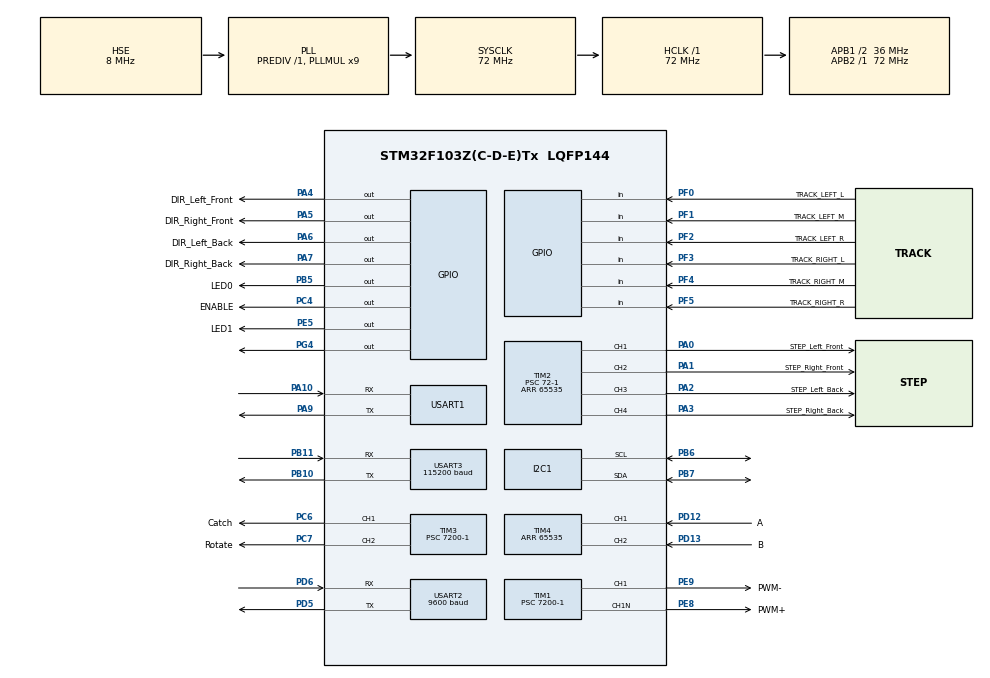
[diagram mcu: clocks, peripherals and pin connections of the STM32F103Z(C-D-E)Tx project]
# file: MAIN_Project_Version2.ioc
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Mcu.Family=STM32F1
Mcu.Name=STM32F103Z(C-D-E)Tx
Mcu.Package=LQFP144
NVIC.PriorityGroup=NVIC_PRIORITYGROUP_2
NVIC.TIM2_IRQn=true\:1\:1\:true\:false\:true\:true\:true
NVIC.TIM6_IRQn=true\:1\:0\:true\:false\:true\:true\:true
NVIC.USART2_IRQn=true\:0\:0\:false\:false\:true\:true\:true
NVIC.USART3_IRQn=true\:0\:0\:false\:false\:true\:true\:true
OSC_IN.Mode=HSE-External-Oscillator
OSC_IN.Signal=RCC_OSC_IN
OSC_OUT.Mode=HSE-External-Oscillator
OSC_OUT.Signal=RCC_OSC_OUT
PA0-WKUP.GPIO_Label=STEP_Left_Front
PA0-WKUP.GPIO_Speed=GPIO_SPEED_FREQ_HIGH
PA0-WKUP.Signal=S_TIM2_CH1_ETR
PA1.GPIO_Label=STEP_Right_Front
PA1.GPIO_Speed=GPIO_SPEED_FREQ_HIGH
PA1.Signal=S_TIM2_CH2
PA10.Mode=Asynchronous
PA10.Signal=USART1_RX
PA2.GPIO_Label=STEP_Left_Back
PA2.GPIO_Speed=GPIO_SPEED_FREQ_HIGH
PA2.Signal=S_TIM2_CH3
PA3.GPIO_Label=STEP_Right_Back
PA3.GPIO_Speed=GPIO_SPEED_FREQ_HIGH
PA3.Signal=S_TIM2_CH4
PA4.GPIO_Label=DIR_Left_Front
PA4.Signal=GPIO_Output
PA5.GPIO_Label=DIR_Right_Front
PA5.Signal=GPIO_Output
PA6.GPIO_Label=DIR_Left_Back
PA6.Signal=GPIO_Output
PA7.GPIO_Label=DIR_Right_Back
PA7.Signal=GPIO_Output
PA9.Mode=Asynchronous
PA9.Signal=USART1_TX
PB10.Mode=Asynchronous
PB10.Signal=USART3_TX
PB11.Mode=Asynchronous
PB11.Signal=USART3_RX
PB5.GPIO_Label=LED0
PB5.Signal=GPIO_Output
PB6.Mode=I2C
PB6.Signal=I2C1_SCL
PB7.Mode=I2C
PB7.Signal=I2C1_SDA
PC14-OSC32_IN.Mode=LSE-External-Oscillator
PC14-OSC32_IN.Signal=RCC_OSC32_IN
PC15-OSC32_OUT.Mode=LSE-External-Oscillator
PC15-OSC32_OUT.Signal=RCC_OSC32_OUT
PC4.GPIO_Label=ENABLE
PC4.Signal=GPIO_Output
PC6.GPIO_Label=Catch
PC6.Signal=S_TIM3_CH1
PC7.GPIO_Label=Rotate
PC7.Signal=S_TIM3_CH2
PD12.GPIO_Label=A
PD12.GPIO_PuPd=GPIO_PULLUP
PD12.Signal=S_TIM4_CH1
PD13.GPIO_Label=B
PD13.GPIO_PuPd=GPIO_PULLUP
PD13.Signal=S_TIM4_CH2
PD5.Mode=Asynchronous
PD5.Signal=USART2_TX
PD6.Mode=Asynchronous
PD6.Signal=USART2_RX
PE5.GPIO_Label=LED1
PE5.Signal=GPIO_Output
PE8.GPIO_Label=PWM+
PE8.Mode=PWM Generation1 CH1 CH1N
PE8.Signal=TIM1_CH1N
PE9.GPIO_Label=PWM-
PE9.GPIO_Speed=GPIO_SPEED_FREQ_HIGH
PE9.Signal=S_TIM1_CH1
PF0.GPIO_Label=TRACK_LEFT_L
PF0.Signal=GPIO_Input
PF1.GPIO_Label=TRACK_LEFT_M
PF1.Signal=GPIO_Input
PF2.GPIO_Label=TRACK_LEFT_R
PF2.Signal=GPIO_Input
PF3.GPIO_Label=TRACK_RIGHT_L
PF3.Signal=GPIO_Input
PF4.GPIO_Label=TRACK_RIGHT_M
PF4.Signal=GPIO_Input
PF5.GPIO_Label=TRACK_RIGHT_R
PF5.Signal=GPIO_Input
PG4.Signal=GPIO_Output
ProjectManager.HeapSize=0x200
ProjectManager.StackSize=0x400
ProjectManager.TargetToolchain=MDK-ARM V5
RCC.ADCPresc=RCC_ADCPCLK2_DIV6
RCC.AHBFreq_Value=72000000
RCC.APB1CLKDivider=RCC_HCLK_DIV2
RCC.APB1Freq_Value=36000000
RCC.APB1TimFreq_Value=72000000
RCC.APB2Freq_Value=72000000
RCC.APB2TimFreq_Value=72000000
RCC.HCLKFreq_Value=72000000
RCC.PLLMUL=RCC_PLL_MUL9
RCC.PLLSourceVirtual=RCC_PLLSOURCE_HSE
RCC.SYSCLKFreq_VALUE=72000000
RCC.SYSCLKSource=RCC_SYSCLKSOURCE_PLLCLK
RCC.USBFreq_Value=72000000
SH.S_TIM1_CH1.0=TIM1_CH1,PWM Generation1 CH1 CH1N
SH.S_TIM2_CH1_ETR.0=TIM2_CH1,Output Compare1 CH1
SH.S_TIM2_CH2.0=TIM2_CH2,Output Compare2 CH2
SH.S_TIM2_CH3.0=TIM2_CH3,Output Compare3 CH3
SH.S_TIM2_CH4.0=TIM2_CH4,Output Compare4 CH4
SH.S_TIM3_CH1.0=TIM3_CH1,PWM Generation1 CH1
SH.S_TIM3_CH2.0=TIM3_CH2,PWM Generation2 CH2
SH.S_TIM4_CH1.0=TIM4_CH1,Encoder_Interface
SH.S_TIM4_CH2.0=TIM4_CH2,Encoder_Interface
TIM1.AutoReloadPreload=TIM_AUTORELOAD_PRELOAD_ENABLE
TIM1.Channel-PWM\ Generation1\ CH1\ CH1N=TIM_CHANNEL_1
TIM1.Period=100-1
TIM1.Prescaler=7200-1
TIM1.Pulse-PWM\ Generation1\ CH1\ CH1N=50
TIM2.AutoReloadPreload=TIM_AUTORELOAD_PRELOAD_ENABLE
TIM2.Channel-Output\ Compare1\ CH1=TIM_CHANNEL_1
TIM2.Channel-Output\ Compare2\ CH2=TIM_CHANNEL_2
TIM2.Channel-Output\ Compare3\ CH3=TIM_CHANNEL_3
TIM2.Channel-Output\ Compare4\ CH4=TIM_CHANNEL_4
TIM2.OC1Preload=DISABLE
TIM2.OC2Preload=DISABLE
TIM2.OC3Preload=DISABLE
TIM2.OC4Preload=DISABLE
TIM2.OCMode_1=TIM_OCMODE_TOGGLE
TIM2.OCMode_2=TIM_OCMODE_TOGGLE
TIM2.OCMode_3=TIM_OCMODE_TOGGLE
TIM2.OCMode_4=TIM_OCMODE_TOGGLE
TIM2.Period=65535
TIM2.Prescaler=72-1
TIM2.Pulse-Output\ Compare1\ CH1=1000
TIM2.Pulse-Output\ Compare2\ CH2=1000
TIM2.Pulse-Output\ Compare3\ CH3=1000
TIM2.Pulse-Output\ Compare4\ CH4=1000
TIM3.AutoReloadPreload=TIM_AUTORELOAD_PRELOAD_ENABLE
TIM3.Channel-PWM\ Generation1\ CH1=TIM_CHANNEL_1
TIM3.Channel-PWM\ Generation2\ CH2=TIM_CHANNEL_2
TIM3.OCPolarity_1=TIM_OCPOLARITY_HIGH
TIM3.OCPolarity_2=TIM_OCPOLARITY_HIGH
TIM3.Period=200-1
TIM3.Prescaler=7200-1
TIM3.Pulse-PWM\ Generation1\ CH1=0
TIM3.Pulse-PWM\ Generation2\ CH2=0
TIM4.EncoderMode=TIM_ENCODERMODE_TI1
TIM4.Period=65535
TIM6.AutoReloadPreload=TIM_AUTORELOAD_PRELOAD_DISABLE
TIM6.Period=100-1
TIM6.Prescaler=7200-1
USART1.VirtualMode=VM_ASYNC
USART2.BaudRate=9600
USART2.VirtualMode=VM_ASYNC
USART3.BaudRate=115200
USART3.VirtualMode=VM_ASYNC
VP_SYS_VS_ND.Mode=No_Debug
VP_TIM1_VS_ClockSourceINT.Mode=Internal
VP_TIM2_VS_ClockSourceINT.Mode=Internal
VP_TIM3_VS_ClockSourceINT.Mode=Internal
VP_TIM6_VS_ClockSourceINT.Mode=Enable_Timer
board=custom

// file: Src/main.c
/* USER CODE BEGIN Header */
/**
  ******************************************************************************
  * @file           : main.c
  * @brief          : Main program body
  ******************************************************************************
  * @attention
  *
  * <h2><center>&copy; Copyright (c) 2020 STMicroelectronics.
  * All rights reserved.</center></h2>
  *
  * This software component is licensed by ST under BSD 3-Clause license,
  * the "License"; You may not use this file except in compliance with the
  * License. You may obtain a copy of the License at:
  *                        opensource.org/licenses/BSD-3-Clause
  *
  ******************************************************************************
  */
/* USER CODE END Header */

#include "main.h"
#include "i2c.h"
#include "tim.h"
#include "usart.h"
#include "gpio.h"

/* USER CODE BEGIN Includes */
#include <stdio.h>
#include "bsp_stepmotor.h"
#include "bsp_move.h"
#include "bsp_servo.h"
#include "bsp_lifter.h"
#include "oled.h"
#include "control.h"
#include "bsp_catch.h"
/* USER CODE END Includes */

/* USER CODE BEGIN PV */

uint16_t step_to_run[4]={24000,24000,24000,24000}; //要匀速运行的步数       总共运行步数 = ACCELERATED_SPEED_LENGTH*2 + step_to_run
float fre[ACCELERATED_SPEED_LENGTH]; //数组存储加速过程中每一步的频率
unsigned short period[ACCELERATED_SPEED_LENGTH]; //数组储存加速过程中每一步定时器的自动装载值
uint32_t count[4]={0,0,0,0};
uint32_t num_callback[4]={0,0,0,0};
uint8_t status[4]={1,1,1,1};

 unsigned char BMP1[]=
{

0x00,0xC0,0xC0,0xC0,0xC0,0xC0,0xC0,0x30,0xF0,0xFC,0xFC,0x00,0x00,0x00,0x00,0x00,
0x00,0x00,0x00,0x00,0x00,0x00,0x00,0x00,0xFF,0xFF,0xFF,0x00,0x00,0x00,0x00,0x00,
0x00,0x00,0x00,0x00,0x00,0x00,0x00,0x00,0xFF,0xFF,0xFF,0x00,0x00,0x00,0x00,0x00,
0x00,0x00,0x00,0x00,0x00,0x00,0x00,0x00,0xFF,0xFF,0xFF,0x00,0x00,0x00,0x00,0x00,
0x00,0x00,0x00,0x00,0x00,0x00,0x00,0x00,0x7F,0x7F,0x7F,0x00,0x00,0x00,0x00,0x00,/*"C:\Users\电脑\Desktop\1.bmp",0*/

};

 unsigned char BMP2[]=
{

	0x00,0x00,0x00,0xC0,0xC0,0xFE,0xFE,0x3E,0x3E,0xFE,0xFE,0xFE,0xC0,0x00,0x00,0x00,
	0x00,0x00,0x00,0x0F,0x0F,0x00,0x00,0x00,0x00,0xFF,0xFF,0xFF,0xFF,0x30,0x00,0x00,
	0x00,0x00,0x00,0x00,0x00,0x00,0xC0,0xC0,0xF8,0xFF,0xFF,0xFF,0x3F,0x00,0x00,0x00,
	0x00,0x00,0x00,0xF0,0xF0,0xFF,0xFF,0x7F,0x0F,0x00,0x00,0x00,0x00,0x00,0x00,0x00,
	0x00,0x00,0x3C,0x3F,0x3F,0x3F,0x33,0x30,0x30,0x30,0x30,0x30,0x30,0x30,0x00,0x00,/*"C:\Users\电脑\Desktop\2.bmp",0*/

};

 unsigned char BMP3[]=
{

	0x00,0x00,0xF8,0xFC,0xFC,0xFC,0xFC,0xFC,0xFC,0xFC,0xFC,0xF8,0xF8,0xF8,0x00,0x00,
	0x00,0x00,0x00,0x00,0x00,0x00,0x00,0x80,0x80,0x80,0xFF,0xFF,0xFF,0xFF,0x7F,0x00,
	0x00,0x00,0x00,0x1E,0x1E,0x1E,0x1E,0x1F,0x1F,0xFF,0xFF,0xFF,0xFF,0xF9,0xE0,0x00,
	0x00,0x80,0x80,0x00,0x00,0x00,0x00,0x00,0x00,0x00,0x83,0xFF,0xFF,0xFF,0xFF,0x18,
	0x00,0x3F,0x3F,0x7E,0x7E,0x7E,0x7E,0x7E,0x7E,0x7E,0x3F,0x3F,0x3F,0x07,0x01,0x00,/*"C:\Users\电脑\Desktop\3.bmp",0*/

};

 unsigned char BMPS[]=
{

	0x00,0x00,0x00,0x00,0x00,0x00,0x00,0x00,0x00,0x00,0x00,0x00,0x00,0x00,0x00,0x00,
	0x00,0x00,0x00,0x00,0x00,0x00,0xFF,0xFF,0xFF,0x00,0x00,0x00,0x00,0x00,0x00,0x00,
	0x00,0x3E,0x3E,0x3E,0x3E,0x3E,0xFF,0xFF,0xFF,0x3E,0x3E,0x3E,0x3E,0x3E,0x00,0x00,
	0x00,0x00,0x00,0x00,0x00,0x00,0x7F,0x7F,0x7F,0x00,0x00,0x00,0x00,0x00,0x00,0x00,
	0x00,0x00,0x00,0x00,0x00,0x00,0x00,0x00,0x00,0x00,0x00,0x00,0x00,0x00,0x00,0x00,/*"C:\Users\电脑\Desktop\+.bmp",0*/

};

uint8_t ADmode = 0;//巡线模式

uint16_t step_to_runAD[4]={ADSTEP,ADSTEP,ADSTEP,ADSTEP};
float freAD[ACCELERATED_SPEED_LENGTH_AD]; //数组存储变速过程中每一步的频率
unsigned short periodAD[ACCELERATED_SPEED_LENGTH_AD]; //数组储存变速过程中每一步定时器的自动装载值
uint32_t countAD[4]={0,0,0,0};
uint32_t num_callbackAD[4]={0,0,0,0};
uint8_t statusAD[4]={1,1,1,1};

uint8_t mission = 0;		//任务编码
uint8_t i = 0;					//循环变量
uint8_t Openmvmission=0;//发送给Openmv的任务
uint8_t j = 0;					//总循环
uint8_t p = 0;
uint8_t o = 0;

uint8_t num = 0;

int error = 0;
uint8_t change1 = 0 ;		//越过黑线标记
uint8_t change2 = 0;
uint8_t TrackSw = 0;		//巡线开关
uint8_t Track[1] = {0X57};  //发送给循迹传感器的指令
uint8_t TrackData[3] = {0};	//从循迹传感器传回的数据
uint8_t ADsign = 0;

uint8_t sign = 0;

uint8_t start_flag = 0; //脉冲计数开始
uint8_t start_flag_PID = 0;//PID开始
uint8_t uwDirection=0;	//编码盘方向
uint16_t CaptureNumber=0;//编码盘定时器寄存器值
uint16_t countsum=0;		//编码盘计数
int Position = 0;				//机械臂升降位置

int CatchPosition = CATUP; 	//抓上层物料位置

uint8_t mission_buf[7]={0}; //从Openmv获取的数据
uint8_t Order_buf[1]={0};
uint8_t missioncmd[1]={0};			//发送给Openmv的指令

//发送给Openmv的值 1为完成任务码读取，2为开始物块识别，3为完成物块识别，
//4为开始色环识别，5为完成色环识别，6为开始物料识别，7为完成物料识别

#define ADLEFT 	2
#define ADRIGHT 3
#define ADFRONT 4
#define SCAN  3
/* USER CODE END PV */

void SystemClock_Config(void);

int main(void)
{

  /* MCU Configuration--------------------------------------------------------*/

  /* Reset of all peripherals, Initializes the Flash interface and the Systick. */
  HAL_Init();

  /* Configure the system clock */
  SystemClock_Config();

  /* Initialize all configured peripherals */
  MX_GPIO_Init();
  MX_TIM2_Init();
  MX_TIM3_Init();
  MX_TIM1_Init();
  MX_TIM4_Init();
  MX_USART1_UART_Init();
  MX_TIM6_Init();
  MX_USART3_UART_Init();
  MX_I2C1_Init();
  MX_USART2_UART_Init();
  /* USER CODE BEGIN 2 */

	HAL_TIM_Base_Start(&htim2);//启动定时器
	HAL_TIM_Base_Start_IT(&htim6);
	//HAL_TIM_Base_Start_IT(&htim7);

	#if 1  //步进电机
	Move_Enable;
	CalculateSModelLine(fre,period,ACCELERATED_SPEED_LENGTH,FRE_MAX,FRE_MIN,4);
	CalculateSModelLine(freAD,periodAD,ACCELERATED_SPEED_LENGTH_AD,FRE_MAX+11000,FRE_MAX,4);//调速曲线
	#endif
/* USER CODE BEGIN 2 */

	#if 1  //直流电机驱动
	HAL_TIM_Encoder_Start(&htim4, TIM_CHANNEL_ALL);
	Lifter_Init();
	#endif

	#if 1//舵机初始化
	Servo_Init();
	#endif

	#if 1 //OLED初始化
  OLED_Init();
	OLED_CLS();
	#endif

  /* USER CODE END 2 */

  /* Infinite loop */
	while (1)
	{

    /* USER CODE BEGIN 3 */

		#if 1
		start_flag = 1;//开始脉冲计数
		Position = 10000; //静止
		start_flag_PID = 1;
		//HAL_Delay(1000);
		#endif

//		#if 1
//		Position = TOP; //上升
//		HAL_Delay(2000);
//		Catch_Control(0);
//		Rotate_Control(0);
//		HAL_Delay(1000);
//		#endif
//		Position = CATDOWN; //上升
//
//		while(1);
		mission = 1;//后退半格到线上
		Move_Step(BACKWORD,20000);
		HAL_Delay(200);

		#if 1
		Position = TOP; //上升
		HAL_Delay(2000);
		Catch_Control(0);
		Rotate_Control(0);
		HAL_Delay(1000);
		#endif

		mission = 2;//左移两格并巡线
		ADsign = 1;
		Move_Step(LEFT,40000);
		HAL_Delay(200);

		#if 1
		Openmvmission = 1;//进入openmv传送
		missioncmd[0]=1;
		HAL_UART_Receive_IT(&huart3, mission_buf, sizeof(mission_buf));//启动串口中断接受任务
		while(sign==0)
		{
			HAL_UART_Transmit(&huart3, (uint8_t*)missioncmd,sizeof(missioncmd),0XFFFF);
			HAL_Delay(500);
			//printf("%c",mission_buf[0]);
		}
		sign = 0;//复位
		#endif

		mission = 3;//左移四格并巡线
		ADsign = 1;
		Move_Step(LEFT,40000);
		HAL_Delay(500);

		for(j=0;j<2;j++)
		{
		#if 1
		Openmvmission = 2;//进入openmv传送
		if(j==0)
		{
			missioncmd[0]=2;//第一次发送2看上层
		}
		else if(j==1)
		{
			mission_buf[0]=mission_buf[4];
			mission_buf[1]=mission_buf[5];
			mission_buf[2]=mission_buf[6];//把后面的任务赋值给前三个元素
			missioncmd[0]=3;//第二次发送3看下层
		}
		HAL_UART_Receive_IT(&huart3, Order_buf, sizeof(Order_buf));//启动串口中断接受任务
		while(sign==0)
		{
			HAL_UART_Transmit(&huart3, (uint8_t*)missioncmd,sizeof(missioncmd),0XFFFF);
			HAL_Delay(500);
			//printf("%d",Order_buf[0]);
		}
		sign = 0;

		if(j==0)//第一次
		{
			CatchPosition = CATUP;
		}
		else if(j==1)//第二次
		{
			CatchPosition = CATDOWN;
		}
		CatchWithMission1(); //抓第一个物料
		CatchWithMission2(); //抓第二个物料
		CatchWithMission3(); //抓第三个物料
		MoveBack();//回到原点

		#endif

		mission = 4;//左转90°
		Move_Step(TURN_LEFT,6000);
		HAL_Delay(500);

		mission = 5;//左移三格并巡线至粗加工区
		ADsign = 1;
		Move_Step(LEFT,40000);
		HAL_Delay(500);

		Move_Step(BACKWORD,300);

		mission = 14;//前进到抓取
		Move_Step(FORWORD,20000);
		HAL_Delay(500);

		#if 1
		PutWithOrder1();			//放置第一个物料
		PutWithOrder2();			//放置第二个物料
		PutWithOrder3();			//放置第三个物料
		MoveBack2();					//粗加工区回到原点
		CatchWithOrder1();
		CatchWithOrder2();
		CatchWithOrder3();
		MoveBack3();					//粗加工区回到蓝色框
		#endif

//		Move_Step(LEFT,6850);
//		HAL_Delay(500);

		mission = 6;//左移两格
		ADsign = 1;
		Move_Step(LEFT,40000);
		HAL_Delay(200);

//		mission = 7;//左转90°
//		Move_Step(TURN_LEFT,6000);
//		HAL_Delay(500);

		Move_Step(TURN_LEFT,TURN90);//左转90°
		HAL_Delay(200);

		mission = 8;//左移三格至半成品区
		ADsign = 1;
		Move_Step(LEFT,40000);
		HAL_Delay(200);

		#if 1
		if(j==0)
		{
			PutWithOrderCU1();			//半成品区放置物料
			PutWithOrderCU2();			//
			PutWithOrderCU3();
		}
		else if(j==1)
		{
			PutWithOrderCU4();			//半成品区放置物料
			PutWithOrderCU5();			//
			PutWithOrderCU6();
		}

		MoveBack2();		//回到原点
		//Move_Step(BACKWORD,1900);
		#endif
		if(j==0)//开始第二次
		{
		mission = 9;//左转90°
		Move_Step(TURN_LEFT,6000);
		HAL_Delay(200);

//		Move_Step(TURN_LEFT,TURN90);//左转90°
//		HAL_Delay(500);

		mission = 10;//左移五格
		ADsign = 1;
		Move_Step(LEFT,40000);
		HAL_Delay(200);

		Move_Step(TURN_LEFT,TURN90);//左转90°
		HAL_Delay(200);

//		mission = 11;//左转90°
//		Move_Step(TURN_LEFT,6000);
//		HAL_Delay(500);

		//Move_Step(LEFT,1500);

		mission = 12;//左移两格
		ADsign = 1;
		Move_Step(LEFT,40000);
		HAL_Delay(200);
		}
		}
	mission = 13;//左移三格
	//ADsign = 1;
	Move_Step(LEFT,40000);

	Move_Step(FORWORD,4300);
	while(1);
  }

  /* USER CODE END 3 */
}

void SystemClock_Config(void)
{
  RCC_OscInitTypeDef RCC_OscInitStruct = {0};
  RCC_ClkInitTypeDef RCC_ClkInitStruct = {0};

  /** Initializes the CPU, AHB and APB busses clocks
  */
  RCC_OscInitStruct.OscillatorType = RCC_OSCILLATORTYPE_HSE;
  RCC_OscInitStruct.HSEState = RCC_HSE_ON;
  RCC_OscInitStruct.HSEPredivValue = RCC_HSE_PREDIV_DIV1;
  RCC_OscInitStruct.HSIState = RCC_HSI_ON;
  RCC_OscInitStruct.PLL.PLLState = RCC_PLL_ON;
  RCC_OscInitStruct.PLL.PLLSource = RCC_PLLSOURCE_HSE;
  RCC_OscInitStruct.PLL.PLLMUL = RCC_PLL_MUL9;
  if (HAL_RCC_OscConfig(&RCC_OscInitStruct) != HAL_OK)
  {
    Error_Handler();
  }
  /** Initializes the CPU, AHB and APB busses clocks
  */
  RCC_ClkInitStruct.ClockType = RCC_CLOCKTYPE_HCLK|RCC_CLOCKTYPE_SYSCLK
                              |RCC_CLOCKTYPE_PCLK1|RCC_CLOCKTYPE_PCLK2;
  RCC_ClkInitStruct.SYSCLKSource = RCC_SYSCLKSOURCE_PLLCLK;
  RCC_ClkInitStruct.AHBCLKDivider = RCC_SYSCLK_DIV1;
  RCC_ClkInitStruct.APB1CLKDivider = RCC_HCLK_DIV2;
  RCC_ClkInitStruct.APB2CLKDivider = RCC_HCLK_DIV1;

  if (HAL_RCC_ClockConfig(&RCC_ClkInitStruct, FLASH_LATENCY_2) != HAL_OK)
  {
    Error_Handler();
  }
}

/* USER CODE BEGIN 4 */
void HAL_TIM_PeriodElapsedCallback(TIM_HandleTypeDef *htim)
{
	if(htim->Instance == htim6.Instance) //判断是否定时器6
		{
//			if(TrackSw == 1)
//			{
//				HAL_UART_Receive_IT(&huart2, TrackData, sizeof(TrackData));//启动串口中断，数据给对应数组
//				HAL_UART_Transmit(&huart2, (uint8_t*)Track,sizeof(Track),0XFFFF);  //让传感器传回数据
//				TrackSw = 0;
//			}
	if(ADsign == 1)  //1为向左走并调整，2为向右走并调整
	{
		if(TrackLM==1&&TrackLL==0&&TrackLR==0)
		{
			p=0;
			//ADmode = 0;//正常循迹
		}
		else if(TrackLM==1&&TrackLL==1&&TrackLR==1)
		{
			p=0;
			//ADmode = 0;//正常循迹
		}
//		else if(TrackLM==1&&TrackLL==1&&TrackLR==1)
//		{
//			k=0;
//			//ADmode = 0;//正常循迹
//		}
		else if(TrackLL==1&&status[3]==3)
		{
			p+=1;
			if(ADmode == 0&&p>=SCAN)
			{
				for(i=0;i<4;i++)
				{
				countAD[i]=0;
				num_callbackAD[i]=0;
				statusAD[i]=1;
				step_to_runAD[i]=ADSTEP;
				}
				statusAD[0] = 0;//后轮不动
				statusAD[1] = 0;
				ADmode = 1;
				p=0;
			}
			//前轮一起动快一点
		}
		else if(TrackLR==1&&status[3]==3)
		{
			p+=1;
			if(ADmode == 0&&p>=SCAN)
			{
				for(i=0;i<4;i++)
				{
				countAD[i]=0;
				num_callbackAD[i]=0;
				statusAD[i]=1;
				step_to_runAD[i]=ADSTEP;
				}
				statusAD[2] = 0;//前轮不动
				statusAD[3] = 0;
				ADmode = 1;
				p=0;
			}
			//后轮一起动快一点
		}
	}
			if(mission==1)//后退至第二条黑线黑线
			{
				if(TrackRR==1)
				{
					change1=1;
				}
				if((change1==1)&&(TrackRR==0))
				{
					change1=0;//复位
					num+=1;
				}
				if(num>=2)
				{
					for(i=0;i<4;i++)
					{
						step_to_run[i]=700;
					}
					mission=0;
					num=0;//复位
					ADsign = 0;//关闭调整
					ADmode = 0;
				}
			}

			if(mission==2)//检测到两条黑线
			{
				if(TrackRR==1)
					{
						change1=1;
					}
					if((change1==1)&&(TrackRR==0))
					{
						change1=0;//复位
						num+=1;
					}
				if(num==2)
				{
					for(i=0;i<4;i++)
					{
						step_to_run[i]=1500;
					}
					mission=0;
					num=0;//复位
					ADsign = 0;//关闭调整
					ADmode = 0;
				}
			}
			if(mission==3)//检测到三条黑线到原料区
			{
				if(TrackRR==1)
				{
					change1=1;
				}
				if((change1==1)&&(TrackRR==0))
				{
					change1=0;//复位
					num+=1;
				}
				if(num>=3)
				{
					for(i=0;i<4;i++)
						{
						step_to_run[i]=TrackPre;
						}
					mission=0;
					num=0;//复位
					ADsign = 0;//关闭调整
					ADmode = 0;
				}
			}
			if((mission==4)&&(TrackLL==1))//左转90°并检测到黑线
			{
				for(i=0;i<4;i++)
				{
					step_to_run[i]=470;
				}
				mission=0;
				num=0;//复位
				ADsign = 0;//关闭调整
				ADmode = 0;
			}

			if(mission==5)//左移三格并巡线
			{
				if(TrackRR==1)
				{
					change1=1;
				}
				if((change1==1)&&(TrackRR==0))
				{
					change1=0;//复位
					num+=1;
				}
					if(num>=2)
					{
						for(i=0;i<4;i++)
							{
							step_to_run[i]=TrackPre;
							}
							o++;
							if(o>=2)
							{
							num=0;//复位
							mission=0;
							ADsign = 0;//关闭调整
							ADmode = 0;
								o=0;
							}
					}
			}

			if(mission==6)//左移两格并巡线
			{
				if(TrackRR==1)
				{
					change1=1;
				}
				if((change1==1)&&(TrackRR==0))
				{
					change1=0;//复位
					num+=1;
				}
					if(num>=1)
					{
						for(i=0;i<4;i++)
							{
							step_to_run[i]=TrackPre;
							}
							o++;
							if(o>=2)
							{
							num=0;//复位
							mission=0;
							ADsign = 0;//关闭调整
							ADmode = 0;
								o=0;
							}
					}
			}

			if((mission==7)&&(TrackRL==1))//左转90度
			{
					for(i=0;i<4;i++)
					{
						step_to_run[i]=100;
					}
					mission=0;
					num=0;//复位
					ADsign = 0;//关闭调整
					ADmode = 0;
			}

			if(mission==8)//左移3格并调整
			{
				if(TrackRR==1)
				{
					change1=1;
				}
				if((change1==1)&&(TrackRR==0))
				{
					change1=0;//复位
					num+=1;
				}
					if(num>=2)
					{
						for(i=0;i<4;i++)
							{
							step_to_run[i]=TrackPre;
							}
											o++;
							if(o>=2)
							{
							num=0;//复位
							mission=0;
							ADsign = 0;//关闭调整
							ADmode = 0;
								o=0;
							}
					}
			}

			if((mission==9)&&(TrackLL==1))//左转90度
			{
					for(i=0;i<4;i++)
					{
						step_to_run[i]=470;
					}
					mission=0;
					num=0;//复位
					ADsign = 0;//关闭调整
					ADmode = 0;
			}
			if(mission==10)//向左5格并调整
			{
				if(TrackRR==1)
				{
					change1=1;
				}
				if((change1==1)&&(TrackRR==0))
				{
					change1=0;//复位
					num+=1;
				}
					if(num>=4)
					{
						for(i=0;i<4;i++)
							{
							step_to_run[i]=TrackPre;
							}
							o++;
							if(o>=2)
							{
							num=0;//复位
							mission=0;
							ADsign = 0;//关闭调整
							ADmode = 0;
								o=0;
							}
					}
			}

			if((mission==11)&&(TrackRL==1))//左转90度
			{
					for(i=0;i<4;i++)
					{
						step_to_run[i]=100;
					}
					mission=0;
					num=0;//复位
					ADsign = 0;//关闭调整
					ADmode = 0;
			}

			if(mission==12)//向左2格并调整
			{
				if(TrackRR==1)
				{
					change1=1;
				}
				if((change1==1)&&(TrackRR==0))
				{
					change1=0;//复位
					num+=1;
				}
					if(num>=1)
					{
						for(i=0;i<4;i++)
							{
							step_to_run[i]=TrackPre;
							}
							o++;
							if(o>=3)
							{
							num=0;//复位
							mission=0;
							ADsign = 0;//关闭调整
							ADmode = 0;
								o=0;
							}
					}
			}
			if(mission==13)//向左3格并调整
			{
				if(TrackLM==1)
				{
					change1=1;
				}
				if((change1==1)&&(TrackLM==0))
				{
					change1=0;//复位
					num+=1;
				}
					if(num>=3)
					{
						for(i=0;i<4;i++)
							{
							step_to_run[i]=2400;
							}
							num=0;//复位
							mission=0;
							ADsign = 0;//关闭调整
							ADmode = 0;
					}
			}

			if(mission==14)//向左2格并调整
			{
				if(TrackLR==1)
				{
					change1=1;
				}
				if((change1==1)&&(TrackLR==0))
				{
					change1=0;//复位
					num+=1;
				}
					if(num>=1)
					{
						for(i=0;i<4;i++)
							{
							step_to_run[i]=3450;
							}
						mission=0;
						num=0;//复位
						ADsign = 0;//关闭调整
						ADmode = 0;
					}
			}
			if(start_flag) // 等待脉冲输出后才开始计时
			{
				/* Get the current direction */
				uwDirection = __HAL_TIM_IS_TIM_COUNTING_DOWN(&htim4);
				CaptureNumber=__HAL_TIM_GET_COUNTER(&htim4);
				countsum=10000+CaptureNumber;
			}
			if(start_flag_PID)
			{
				// 1.获取电机位置
				GetMotorPulse();

				// 2.PID控制器，取回占空比
				MotorOutput = SpeedInnerControl(Position,MotorSpeed);

				// 3.将占空比导入至电机控制函数
				Lifter_Control(MotorOutput);
				#if 0						//打印编码盘
				l++;
				if(l>100)
				{
					//打印定时器4的计数值，short（-32768——32767）
					//printf("当前位置 = %d 占空比 = %d \r\n",MotorSpeed,MotorOutput);
					l=0;
				}
				#endif
			}
		}
}

void HAL_UART_RxCpltCallback(UART_HandleTypeDef *huart)
{
	if(huart->Instance == USART3)
	{
		if(Openmvmission == 1)
		{
			uint8_t i = 0;
			OLED_CLS();
			for(i=0;i<7;i++)
			{
				switch (mission_buf[i])
				{
					case '1':
					//OLED_ShowChar(1+i*16,4,'1',16);
					OLED_DrawBMP(1+i*16,0,17+i*16,6,BMP1);
					break;
					case '2':
					//OLED_ShowChar(1+i*16,4,'2',16);
					OLED_DrawBMP(1+i*16,0,17+i*16,6,BMP2);
					break;
					case '3':
					//OLED_ShowChar(1+i*16,4,'3',16);
					OLED_DrawBMP(1+i*16,0,17+i*16,6,BMP3);
					break;
					case '+':
					//OLED_ShowChar(1+i*16,4,'+',16);
					OLED_DrawBMP(1+i*16,0,17+i*16,6,BMPS);
					break;
					default:
					break;
				}
			}
			sign = 1;
		}
		if(Openmvmission == 2 )
		{
			sign = 1;
		}
	}
	if(huart->Instance == USART2)  //循迹传感器传回数据
	{
		if(((TrackData[0] >> 1)%2) == 1)		//在线上
		{
			if(((TrackData[0] >> 3)%2) == 0)		//部分在线上
			{
				if(TrackData[0]%2 == 0)     //车偏右
				{
					error = -((TrackData[1]<<8)|TrackData[2]);	//误差值
					//printf("车偏右%d",error);
					ADsign=ADLEFT;
				}
				else if(TrackData[0]%2 == 1)		//车偏左
				{
					error = ((TrackData[1]<<8)|TrackData[2]);  //误差值
					//printf("车偏左%d",error);
					ADsign=ADRIGHT;
				}
			}
			else if(((TrackData[0] >> 3)%2) == 1)		//全部在线上
			{
				printf("全部在线上");
			}
		}
		else if(((TrackData[0] >> 1)%2) == 0)		//出线
		{
			if(((TrackData[0] >> 2)%2) == 0)		//左出线
			{
				printf("左出线");
			}
			else if(((TrackData[0] >> 2)%2) == 1)		//右出线
			{
				printf("右出线");
			}
		}
	}
}

/* USER CODE END 4 */

void Error_Handler(void)
{
}

/************************ (C) COPYRIGHT STMicroelectronics *****END OF FILE****/
